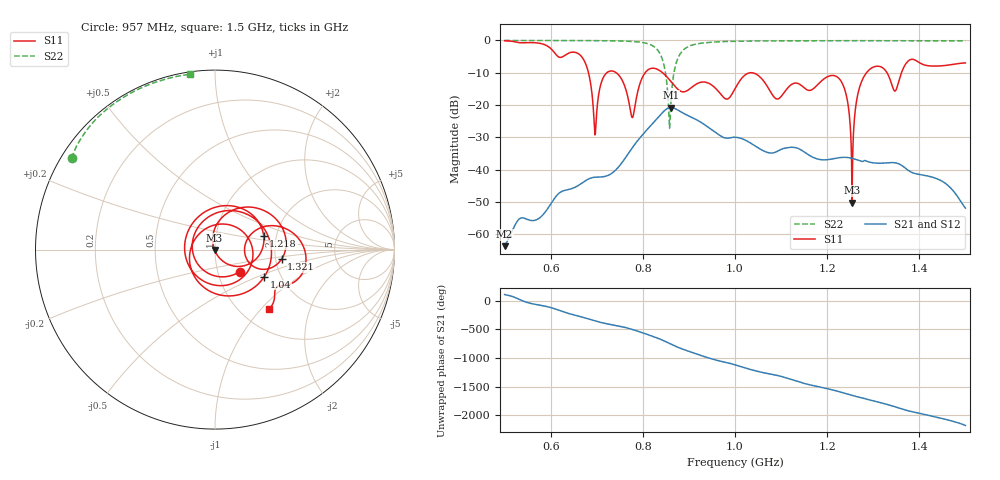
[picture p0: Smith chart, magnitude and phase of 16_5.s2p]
! TOUCHSTONE file generated by CST MICROWAVE STUDIO
! Date and time: Mon Nov 30 08:36:05 2020
! Project name: Scenario_1_Planar_Body_Tissue_Out_of_Line.cst
! Parameters = {dy1=-86.5; L_HA=400; Ltissue=700; MT=2.54; Rad_Dielectric=30; Rad_Lower=7.3; Rad_Upper=30; Wtissue=700; a_HA=580; a_WG=246; b_HA=500; b_WG=121; c_HA=0; c_WG=187; d_feed=85; dx1=866; h_feed=15; h_lower=18; h_upper=40; hfat=3; hgap=25; hmuscle=50; hskin=1.5}
! Header version: 2018
! Port assignment regex: !\s*Touchstone port\s*([0-9]+)\s*=\s*(CST MWS port|CST DS port)\s*([0-9]+|Zmin|Zmax)\s*\(\"(.*)\"\)(\s*mode\s*([0-9]+))?.*
! Touchstone port assignment:
! Touchstone port 1 = CST MWS port 1 ("")
! Touchstone port 2 = CST MWS port 2 ("")
# GHz S DB R 50
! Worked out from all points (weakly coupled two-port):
!   1003 points, 500 MHz to 1.5 GHz, reference 50 ohm
!   highest |S21| = -20.76 dB at 861 MHz (marker M1); lowest = -63.7 dB at 500 MHz (marker M2)
!   lowest |S11| = -50.2 dB at 1.254 GHz (marker M3), VSWR 1.01, Z = 49.8 - j0.197 ohm
!   |S11| at or under -10 dB: 742.3 MHz to 805 MHz (62.68 MHz wide, 8.1 % of centre); 842.9 MHz to 1.033 GHz (190 MHz wide, 20.3 % of centre); 1.037 GHz to 1.285 GHz (248.2 MHz wide, 21.4 % of centre) (the widest 3 of 5)
!   |S22| runs from -27.1 to 0.0 dB; largest |S21 - S12| = 7.1e-05
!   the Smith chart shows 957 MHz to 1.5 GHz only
!   S11 on the Smith chart (normalised r, x): 957 MHz: 1.27, -0.32; 1.04 GHz: 1.65, -0.55; 1.218 GHz: 1.72, +0.28; 1.321 GHz: 2.16, -0.26; 1.5 GHz: 1.34, -1.11
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0.5  -0.10 -122.1  -63.67 105.9  -63.67 105.9  -0.01 151.2
0.583  -1.12 -168.0  -53.99 -89.4  -53.99 -89.4  -0.02 145.4
0.667  -5.00 122.4  -44.22 75.5  -44.22 75.5  -0.04 138.4
0.697  -28.81 -64.3  -42.32 3.8  -42.32 3.8  -0.06 135.2
0.723  -9.86 169.5  -41.86 -44.8  -41.86 -44.8  -0.10 131.9
0.777  -23.88 -31.7  -33.24 -142.2  -33.24 -142.2  -0.32 121.3
0.807  -9.65 157.7  -27.94 138.2  -27.95 138.2  -0.86 109.0
0.834  -9.11 71.8  -23.70 59.4  -23.70 59.4  -3.34 83.8
0.861  -12.70 -17.7  -20.76 -38.9  -20.76 -38.9  -18.99 -120.4
0.884  -15.83 -116.9  -22.22 -118.2  -22.22 -118.2  -3.57 -176.8
0.92  -13.22 84.9  -24.82 140.0  -24.82 140.0  -1.01 157.9
0.957  -14.70 -41.7  -28.40 47.8  -28.40 47.8  -0.48 147.5
1  -14.95 106.4  -29.96 -39.2  -29.96 -39.2  -0.27 140.2
1.04  -10.07 -28.6  -32.32 -134.4  -32.32 -134.4  -0.18 135.5
1.167  -15.24 164.0  -36.01 -36.1  -36.01 -36.1  -0.10 124.2
1.218  -11.01 15.4  -36.49 -129.0  -36.49 -129.0  -0.09 120.3
1.24  -16.09 -36.8  -36.18 -178.6  -36.18 -178.6  -0.08 118.6
1.254  -50.16 -140.5  -36.49 149.0  -36.49 149.0  -0.08 117.6
1.275  -12.63 67.3  -37.42 105.2  -37.42 105.2  -0.08 116.0
1.321  -8.52 -8.1  -37.96 11.1  -37.96 11.1  -0.08 112.5
1.334  -11.17 -23.2  -37.83 -18.0  -37.83 -18.0  -0.08 111.5
1.5  -6.97 -47.4  -51.89 -15.5  -51.89 -15.5  -0.13 98.0
